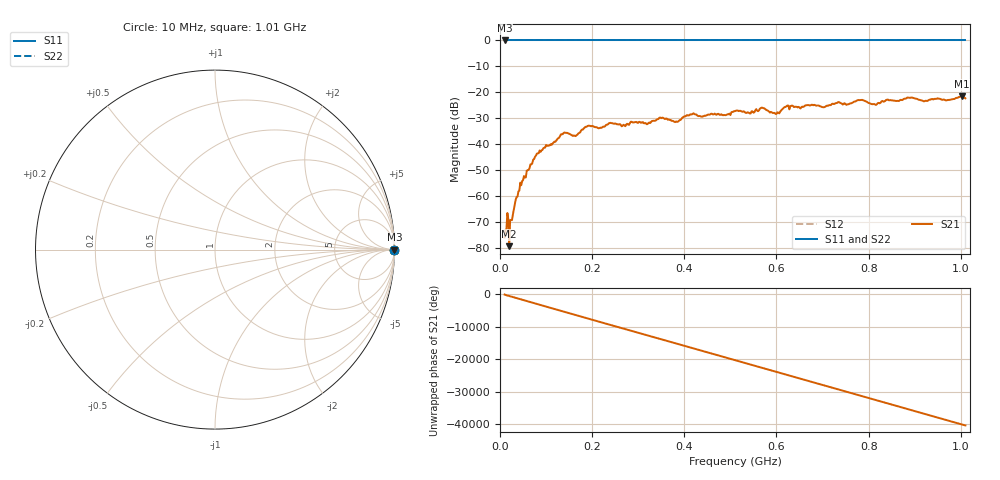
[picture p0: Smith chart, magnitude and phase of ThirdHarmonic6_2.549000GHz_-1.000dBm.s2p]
! 8/17/2025 5:12:02 AM
! C:\ANRITSUVNA\TEMP\TEMP.S2P
! CHANNEL.1
! TR.MEASUREMENT
! RAW.DATA
! RF.CORRECTION.OFF
! AVERAGING.OFF
! IF.BANDWIDTH: 5KHZ
! SWEEPTYPE:  FREQ.SWEEP(Linear)
! Reference Plane Port Info
! PORT:  PORT1  PORT2
! DISTANCE:  0  m  0  m
! TIME:  0  s  0  s
! PHASE.OFFSET:  0  deg.  0  deg.
! LOSS:  0  dB  0  dB
! REF.LOSS:  0  dB  0  dB
! REF.FREQ:  0  Hz  0  Hz
! Power Info
! POWER:  -20  dBm  -20  dBm
! EFF.POWER:  -20  dBm  -20  dBm
! SOURCE.ATTEN:  0  dB  0  dB
! TEST.ATTEN:  0  dB  0  dB
# GHZ S RI R 50.0
! FREQ.GHZ  S11RE  S11IM  S21RE  S21IM  S12RE  S12IM  S22RE  S22IM
!; PortSelection: Port_12
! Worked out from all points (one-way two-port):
!   501 points, 10 MHz to 1.01 GHz, reference 50 ohm
!   highest |S21| = -21.58 dB at 1.002 GHz (marker M1); lowest = -79.3 dB at 20 MHz (marker M2)
!   lowest |S11| = 0.0 dB at 10 MHz (marker M3)
!   |S11| at or under -10 dB: nowhere
!   |S22| runs from 0.0 to 0.0 dB; largest |S21 - S12| = 1.1
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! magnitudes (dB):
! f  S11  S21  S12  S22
! 10 MHz  0.0  -75.9  0.0  0.0
! 14 MHz  0.0  -72.6  0.0  0.0
! 20 MHz  0.0  -79.3  0.0  0.0
! 24 MHz  0.0  -69.2  0.0  0.0
! 36 MHz  0.0  -60.4  0.0  0.0
! 48 MHz  0.0  -54.3  0.0  0.0
! 82 MHz  0.0  -43.5  0.0  0.0
! 136 MHz  0.0  -36.1  0.0  0.0
! 162 MHz  0.0  -36.8  0.0  0.0
! 178 MHz  0.0  -34.4  0.0  0.0
! 344 MHz  0.0  -30.2  0.0  0.0
! 382 MHz  0.0  -31.2  0.0  0.0
! 416 MHz  0.0  -28.5  0.0  0.0
! 510 MHz  0.0  -27.2  0.0  0.0
! 570 MHz  0.0  -26.0  0.0  0.0
! 602 MHz  0.0  -27.7  0.0  0.0
! 622 MHz  0.0  -25.3  0.0  0.0
! 678 MHz  0.0  -24.8  0.0  0.0
! 814 MHz  0.0  -24.7  0.0  0.0
! 844 MHz  0.0  -23.1  0.0  0.0
! 1.002 GHz  0.0  -21.6  0.0  0.0
! 1.01 GHz  0.0  -22.3  0.0  0.0
